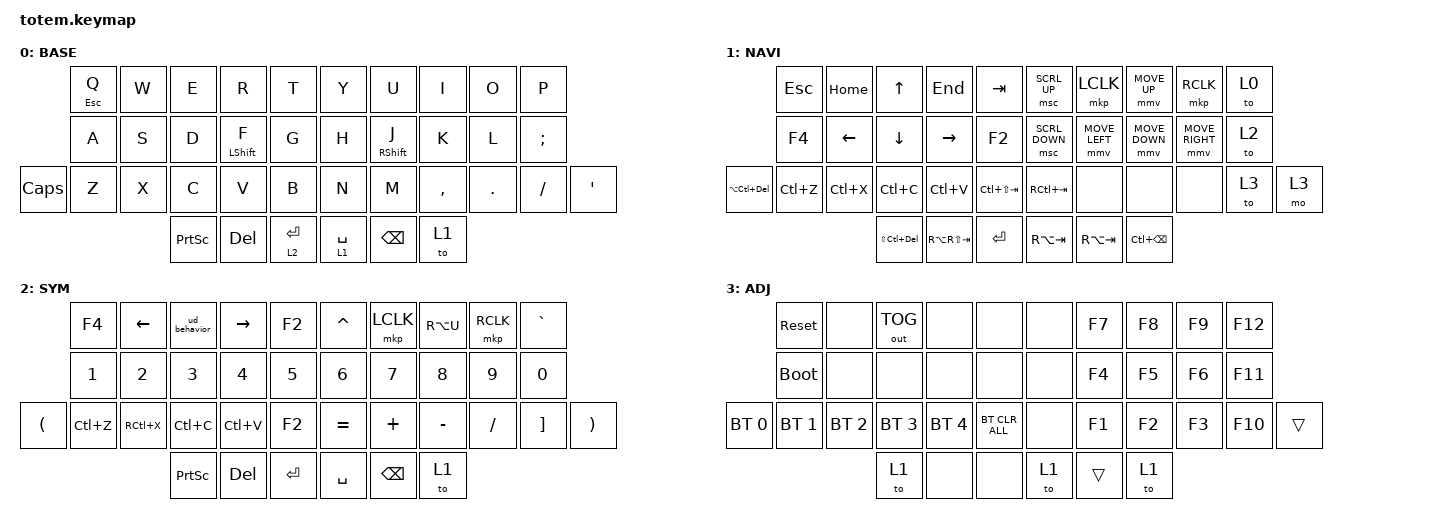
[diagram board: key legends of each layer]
//
//                                                        ▀▀▀▀▀     ▀▀▀▀▀          ▀▀█▀▀
//                                                        ▄▀▀▀▄  ▄  ▄▀▀▀▄  ▄  ▄▀▀▀▄  █  ▄▀▀▀▄
//                                                        █   █  █  █   █  █  █   █  █  █   █
//                                                         ▀▀▀   █   ▀▀▀   █   ▀▀▀   ▀   ▀▀▀
//                                                               █      ▄▄▄█▄▄▄    █   █  
//                                                               ▀      █  █  █     █▄█
//                                                             ▀▀▀▀▀    █  █  █      ▀
//                                                                      ▀  ▀  ▀
//
// ▄▄▄▄▄▄▄▄▄▄▄▄▄▄▄▄▄▄▄▄▄▄▄▄▄▄▄▄▄▄▄▄▄▄▄▄▄▄▄▄▄▄▄▄▄▄▄▄▄▄▄▄▄▄▄▄▄▄▄▄▄▄▄▄▄▄▄▄▄▄▄▄▄▄▄▄▄▄▄▄▄▄▄▄▄▄▄▄▄▄▄▄▄▄▄▄▄▄▄▄▄▄▄▄▄▄▄▄▄▄▄▄▄▄▄▄▄▄▄▄▄▄▄▄▄▄▄▄▄▄▄▄▄▄▄▄▄▄▄▄▄▄▄▄▄▄▄▄▄

#include <behaviors.dtsi>
#include <dt-bindings/zmk/bt.h>
#include <dt-bindings/zmk/keys.h>
#include <dt-bindings/zmk/outputs.h>
#include <dt-bindings/zmk/pointing.h>

#define BASE 0
#define NAV  1
#define SYM  2
#define ADJ  3

&mt {
    quick-tap-ms = <100>;
    global-quick-tap;
    flavor = "tap-preferred";
    tapping-term-ms = <170>;
};

/ {
    combos {
        compatible = "zmk,combos";

        combo_esc {
            timeout-ms = <50>;
            key-positions = <0 1>;
            bindings = <&kp ESC>;
        };
    };

    macros {
        gif: gif {
            label = "giphy";
            compatible = "zmk,behavior-macro";
            #binding-cells = <0>;
            bindings =
                <&macro_press>,
                <&macro_tap>,
                <&kp N2>,
                <&macro_release>,
                <&macro_tap>;
        };
    };

    behaviors {
        ud_behavior: ud_behavior {
            compatible = "zmk,behavior-tap-dance";
            label = "UD_BEHAVIOR";
            #binding-cells = <0>;
            bindings = <&kp UP_ARROW>, <&kp DOWN>;
        };

        HR_behavior: HR_behavior {
            compatible = "zmk,behavior-hold-tap";
            label = "HR_BEHAVIOR";
            bindings = <&mt>, <&kp>;

            #binding-cells = <2>;
            tapping-term-ms = <200>;
            flavor = "tap-preferred";
        };

        esc_behavior: esc_behavior {
            compatible = "zmk,behavior-tap-dance";
            label = "ESC_BEHAVIOR";
            #binding-cells = <0>;
            bindings = <&kp Q>, <&kp ESCAPE>;
        };

        cps_tb_behavior: cps_tb_behavior {
            compatible = "zmk,behavior-tap-dance";
            label = "CPS_TB_BEHAVIOR";
            #binding-cells = <0>;
            bindings = <&kp CAPSLOCK>, <&kp TAB>;
        };
    };

    keymap {
        compatible = "zmk,keymap";

        // ▄▄▄▄▄▄▄▄▄▄▄▄▄▄▄▄▄▄▄▄▄▄▄▄▄▄▄▄▄▄▄▄▄▄▄▄▄▄▄▄▄▄▄▄▄▄▄▄▄▄▄▄▄▄▄▄▄▄▄▄▄▄▄▄▄▄▄▄▄▄▄▄▄▄▄▄▄▄▄▄▄▄▄▄▄▄▄▄▄▄▄▄▄▄▄▄▄▄▄▄▄▄▄▄▄▄▄▄▄▄▄▄▄▄▄▄▄▄▄▄▄▄▄▄▄▄▄▄▄▄▄▄▄▄▄▄▄▄▄▄▄▄▄▄▄▄▄▄▄

        base_layer {
            // ┏━━━━━━━━━━━━━━━━━━━━━━━━━━━━━━━━━━━━━━━┓

            label = "BASE";

            // ┗━━━━━━━━━━━━━━━━━━━━━━━━━━━━━━━━━━━━━━━┛
            //             ┏━━━━━━━━━━━┳━━━━━━━━━━━┳━━━━━━━━━━━┳━━━━━━━━━━━┳━━━━━━━━━━━┓   ┏━━━━━━━━━━━┳━━━━━━━━━━━┳━━━━━━━━━━━┳━━━━━━━━━━━┳━━━━━━━━━━━┓
            //             ┃     Q     ┃     W     ┃     F     ┃     P     ┃     G     ┃   ┃     J     ┃     L     ┃     U     ┃     Y     ┃     ;     ┃
            //             ┣━━━━━━━━━━━╋━━━━━━━━━━━╋━━━━━━━━━━━╋━━━━━━━━━━━╋━━━━━━━━━━━┫   ┣━━━━━━━━━━━╋━━━━━━━━━━━╋━━━━━━━━━━━╋━━━━━━━━━━━╋━━━━━━━━━━━┫
            //             ┃     A     ┃     R     ┃     S     ┃     T     ┃     D     ┃   ┃     H     ┃     N     ┃     E     ┃     I     ┃     O     ┃
            // ┏━━━━━━━━━━━╋━━━━━━━━━━━╋━━━━━━━━━━━╋━━━━━━━━━━━╋━━━━━━━━━━━╋━━━━━━━━━━━┫   ┣━━━━━━━━━━━╋━━━━━━━━━━━╋━━━━━━━━━━━╋━━━━━━━━━━━╋━━━━━━━━━━━╋━━━━━━━━━━━┓
            // ┃           ┃     Z     ┃     X     ┃     C     ┃     V     ┃     B     ┃   ┃     K     ┃     M     ┃     ,     ┃     .     ┃     /     ┃           ┃
            // ┗━━━━━━━━━━━┻━━━━━━━━━━━┻━━━━━━━━━━━╋━━━━━━━━━━━╋━━━━━━━━━━━╋━━━━━━━━━━━┫   ┣━━━━━━━━━━━╋━━━━━━━━━━━╋━━━━━━━━━━━╋━━━━━━━━━━━┻━━━━━━━━━━━┻━━━━━━━━━━━┛
            //                                     ┃           ┃    TAB    ┃    SPC    ┃   ┃   ENTER   ┃   BSPC    ┃           ┃
            //                                     ┗━━━━━━━━━━━┻━━━━━━━━━━━┻━━━━━━━━━━━┛   ┗━━━━━━━━━━━┻━━━━━━━━━━━┻━━━━━━━━━━━┛

            bindings = <
          &mt ESCAPE Q  &kp W  &kp E            &kp R        &kp T          &kp Y        &kp U          &kp I      &kp O    &kp P
          &kp A         &kp S  &kp D            &mt LSHFT F  &kp G          &kp H        &mt RSHFT J    &kp K      &kp L    &kp SEMICOLON
&kp CAPS  &kp Z         &kp X  &kp C            &kp V        &kp B          &kp N        &kp M          &kp COMMA  &kp DOT  &kp SLASH      &kp APOS
                               &kp PRINTSCREEN  &kp DELETE   &lt 2 ENTER    &lt 1 SPACE  &kp BACKSPACE  &to 1
            >;
        };

        // ▄▄▄▄▄▄▄▄▄▄▄▄▄▄▄▄▄▄▄▄▄▄▄▄▄▄▄▄▄▄▄▄▄▄▄▄▄▄▄▄▄▄▄▄▄▄▄▄▄▄▄▄▄▄▄▄▄▄▄▄▄▄▄▄▄▄▄▄▄▄▄▄▄▄▄▄▄▄▄▄▄▄▄▄▄▄▄▄▄▄▄▄▄▄▄▄▄▄▄▄▄▄▄▄▄▄▄▄▄▄▄▄▄▄▄▄▄▄▄▄▄▄▄▄▄▄▄▄▄▄▄▄▄▄▄▄▄▄▄▄▄▄▄▄▄▄▄▄▄

        nav_layer {
            // ┏━━━━━━━━━━━━━━━━━━━━━━━━━━━━━━━━━━━━━━━┓

            label = "NAVI";

            // ┗━━━━━━━━━━━━━━━━━━━━━━━━━━━━━━━━━━━━━━━┛
            //             ┏━━━━━━━━━━━┳━━━━━━━━━━━┳━━━━━━━━━━━┳━━━━━━━━━━━┳━━━━━━━━━━━┓   ┏━━━━━━━━━━━┳━━━━━━━━━━━┳━━━━━━━━━━━┳━━━━━━━━━━━┳━━━━━━━━━━━┓
            //             ┃           ┃           ┃     UP    ┃           ┃     {     ┃   ┃     }     ┃     7     ┃     8     ┃     9     ┃     +     ┃
            //             ┣━━━━━━━━━━━╋━━━━━━━━━━━╋━━━━━━━━━━━╋━━━━━━━━━━━╋━━━━━━━━━━━┫   ┣━━━━━━━━━━━╋━━━━━━━━━━━╋━━━━━━━━━━━╋━━━━━━━━━━━╋━━━━━━━━━━━┫
            //             ┃   SHIFT   ┃   LEFT    ┃    DOWN   ┃   RIGHT   ┃     [     ┃   ┃     ]     ┃     4     ┃     5     ┃     6     ┃     -     ┃
            // ┏━━━━━━━━━━━╋━━━━━━━━━━━╋━━━━━━━━━━━╋━━━━━━━━━━━╋━━━━━━━━━━━╋━━━━━━━━━━━┫   ┣━━━━━━━━━━━╋━━━━━━━━━━━╋━━━━━━━━━━━╋━━━━━━━━━━━╋━━━━━━━━━━━╋━━━━━━━━━━━┓
            // ┃           ┃           ┃   P UP    ┃  C LOCK   ┃  P DOWN   ┃     (     ┃   ┃     )     ┃     1     ┃     2     ┃     3     ┃     *     ┃           ┃
            // ┗━━━━━━━━━━━┻━━━━━━━━━━━┻━━━━━━━━━━━╋━━━━━━━━━━━╋━━━━━━━━━━━╋━━━━━━━━━━━┫   ┣━━━━━━━━━━━╋━━━━━━━━━━━╋━━━━━━━━━━━╋━━━━━━━━━━━┻━━━━━━━━━━━┻━━━━━━━━━━━┛
            //                                     ┃           ┃    TAB    ┃    SPC    ┃   ┃    DEL    ┃     0     ┃           ┃
            //                                     ┗━━━━━━━━━━━┻━━━━━━━━━━━┻━━━━━━━━━━━┛   ┗━━━━━━━━━━━┻━━━━━━━━━━━┻━━━━━━━━━━━┛

            bindings = <
                    &kp ESCAPE  &kp HOME   &kp UP              &kp END          &kp TAB            &msc SCRL_UP    &mkp LCLK       &mmv MOVE_UP       &mkp RCLK        &to 0
                    &kp F4      &kp LEFT   &kp DOWN            &kp RIGHT        &kp F2             &msc SCRL_DOWN  &mmv MOVE_LEFT  &mmv MOVE_DOWN     &mmv MOVE_RIGHT  &to 2
&kp LA(LC(DELETE))  &kp LC(Z)   &kp LC(X)  &kp LC(C)           &kp LC(V)        &kp LC(LS(TAB))    &kp RC(TAB)     &none           &none              &none            &to 3  &mo 3
                                           &kp LS(LC(DELETE))  &kp RA(RS(TAB))  &kp RETURN         &kp RA(TAB)     &kp RA(TAB)     &kp LC(BACKSPACE)
            >;
        };

        // ▄▄▄▄▄▄▄▄▄▄▄▄▄▄▄▄▄▄▄▄▄▄▄▄▄▄▄▄▄▄▄▄▄▄▄▄▄▄▄▄▄▄▄▄▄▄▄▄▄▄▄▄▄▄▄▄▄▄▄▄▄▄▄▄▄▄▄▄▄▄▄▄▄▄▄▄▄▄▄▄▄▄▄▄▄▄▄▄▄▄▄▄▄▄▄▄▄▄▄▄▄▄▄▄▄▄▄▄▄▄▄▄▄▄▄▄▄▄▄▄▄▄▄▄▄▄▄▄▄▄▄▄▄▄▄▄▄▄▄▄▄▄▄▄▄▄▄▄▄

        sim_layer {
            // ┏━━━━━━━━━━━━━━━━━━━━━━━━━━━━━━━━━━━━━━━┓

            label = "SYM";

            // ┗━━━━━━━━━━━━━━━━━━━━━━━━━━━━━━━━━━━━━━━┛
            //             ┏━━━━━━━━━━━┳━━━━━━━━━━━┳━━━━━━━━━━━┳━━━━━━━━━━━┳━━━━━━━━━━━┓   ┏━━━━━━━━━━━┳━━━━━━━━━━━┳━━━━━━━━━━━┳━━━━━━━━━━━┳━━━━━━━━━━━┓
            //             ┃     !     ┃     @     ┃     #     ┃     $     ┃     %     ┃   ┃     ˆ     ┃     &     ┃     Ü     ┃     '     ┃     "     ┃
            //             ┣━━━━━━━━━━━╋━━━━━━━━━━━╋━━━━━━━━━━━╋━━━━━━━━━━━╋━━━━━━━━━━━┫   ┣━━━━━━━━━━━╋━━━━━━━━━━━╋━━━━━━━━━━━╋━━━━━━━━━━━╋━━━━━━━━━━━┫
            //             ┃     Ä     ┃           ┃    SZ     ┃           ┃           ┃   ┃   MUTE    ┃   YEN     ┃   EURO    ┃  POUND    ┃     Ö     ┃
            // ┏━━━━━━━━━━━╋━━━━━━━━━━━╋━━━━━━━━━━━╋━━━━━━━━━━━╋━━━━━━━━━━━╋━━━━━━━━━━━┫   ┣━━━━━━━━━━━╋━━━━━━━━━━━╋━━━━━━━━━━━╋━━━━━━━━━━━╋━━━━━━━━━━━╋━━━━━━━━━━━┓
            // ┃           ┃  EMAIL1   ┃  EMAIL2   ┃           ┃           ┃           ┃   ┃   VOL-    ┃   VOL+    ┃   LAST    ┃   NEXT    ┃     \     ┃           ┃
            // ┗━━━━━━━━━━━┻━━━━━━━━━━━┻━━━━━━━━━━━╋━━━━━━━━━━━╋━━━━━━━━━━━╋━━━━━━━━━━━┫   ┣━━━━━━━━━━━╋━━━━━━━━━━━╋━━━━━━━━━━━╋━━━━━━━━━━━┻━━━━━━━━━━━┻━━━━━━━━━━━┛
            //                                     ┃           ┃    GIF    ┃    ADJ    ┃   ┃           ┃           ┃           ┃
            //                                     ┗━━━━━━━━━━━┻━━━━━━━━━━━┻━━━━━━━━━━━┛   ┗━━━━━━━━━━━┻━━━━━━━━━━━┻━━━━━━━━━━━┛

            bindings = <
                      &kp F4        &kp LEFT_ARROW  &ud_behavior     &kp RIGHT     &kp F2          &kp CARET     &mkp LCLK      &kp RA(U)     &mkp RCLK     &kp GRAVE
                      &kp NUMBER_1  &kp NUMBER_2    &kp NUMBER_3     &kp NUMBER_4  &kp NUMBER_5    &kp NUMBER_6  &kp NUMBER_7   &kp NUMBER_8  &kp NUMBER_9  &kp NUMBER_0
&kp LEFT_PARENTHESIS  &kp LC(Z)     &kp RC(X)       &kp LC(C)        &kp LC(V)     &kp F2          &kp EQUAL     &kp PLUS       &kp MINUS     &kp SLASH     &kp RIGHT_BRACKET  &kp RIGHT_PARENTHESIS
                                                    &kp PRINTSCREEN  &kp DELETE    &kp ENTER       &kp SPACE     &kp BACKSPACE  &to 1
            >;
        };

        // ▄▄▄▄▄▄▄▄▄▄▄▄▄▄▄▄▄▄▄▄▄▄▄▄▄▄▄▄▄▄▄▄▄▄▄▄▄▄▄▄▄▄▄▄▄▄▄▄▄▄▄▄▄▄▄▄▄▄▄▄▄▄▄▄▄▄▄▄▄▄▄▄▄▄▄▄▄▄▄▄▄▄▄▄▄▄▄▄▄▄▄▄▄▄▄▄▄▄▄▄▄▄▄▄▄▄▄▄▄▄▄▄▄▄▄▄▄▄▄▄▄▄▄▄▄▄▄▄▄▄▄▄▄▄▄▄▄▄▄▄▄▄▄▄▄▄▄▄▄

        adjust_layer {
            // ┏━━━━━━━━━━━━━━━━━━━━━━━━━━━━━━━━━━━━━━━┓

            label = "ADJ";

            // ┗━━━━━━━━━━━━━━━━━━━━━━━━━━━━━━━━━━━━━━━┛
            //             ┏━━━━━━━━━━━┳━━━━━━━━━━━┳━━━━━━━━━━━┳━━━━━━━━━━━┳━━━━━━━━━━━┓   ┏━━━━━━━━━━━┳━━━━━━━━━━━┳━━━━━━━━━━━┳━━━━━━━━━━━┳━━━━━━━━━━━┓
            //             ┃   RESET   ┃ BT CLEAR  ┃  OUT TOG  ┃           ┃           ┃   ┃           ┃    F7     ┃    F8     ┃    F9     ┃    F12    ┃
            //             ┣━━━━━━━━━━━╋━━━━━━━━━━━╋━━━━━━━━━━━╋━━━━━━━━━━━╋━━━━━━━━━━━┫   ┣━━━━━━━━━━━╋━━━━━━━━━━━╋━━━━━━━━━━━╋━━━━━━━━━━━╋━━━━━━━━━━━┫
            //             ┃ BOOTLOAD  ┃ BT NEXT   ┃           ┃           ┃           ┃   ┃           ┃    F4     ┃    F5     ┃    F6     ┃    F11    ┃
            // ┏━━━━━━━━━━━╋━━━━━━━━━━━╋━━━━━━━━━━━╋━━━━━━━━━━━╋━━━━━━━━━━━╋━━━━━━━━━━━┫   ┣━━━━━━━━━━━╋━━━━━━━━━━━╋━━━━━━━━━━━╋━━━━━━━━━━━╋━━━━━━━━━━━╋━━━━━━━━━━━┓
            // ┃           ┃           ┃ BT PREV   ┃           ┃           ┃           ┃   ┃           ┃    F1     ┃    F2     ┃    F3     ┃    F10    ┃           ┃
            // ┗━━━━━━━━━━━┻━━━━━━━━━━━┻━━━━━━━━━━━╋━━━━━━━━━━━╋━━━━━━━━━━━╋━━━━━━━━━━━┫   ┣━━━━━━━━━━━╋━━━━━━━━━━━╋━━━━━━━━━━━╋━━━━━━━━━━━┻━━━━━━━━━━━┻━━━━━━━━━━━┛
            //                                     ┃           ┃           ┃           ┃   ┃           ┃           ┃           ┃
            //                                     ┗━━━━━━━━━━━┻━━━━━━━━━━━┻━━━━━━━━━━━┛   ┗━━━━━━━━━━━┻━━━━━━━━━━━┻━━━━━━━━━━━┛

            bindings = <
              &sys_reset    &none         &out OUT_TOG  &none         &none             &none  &kp F7  &kp F8  &kp F9  &kp F12
              &bootloader   &none         &none         &none         &none             &none  &kp F4  &kp F5  &kp F6  &kp F11
&bt BT_SEL 0  &bt BT_SEL 1  &bt BT_SEL 2  &bt BT_SEL 3  &bt BT_SEL 4  &bt BT_CLR_ALL    &none  &kp F1  &kp F2  &kp F3  &kp F10  &trans
                                          &to 1         &none         &none             &to 1  &trans  &to 1
            >;
        };
    };
};
